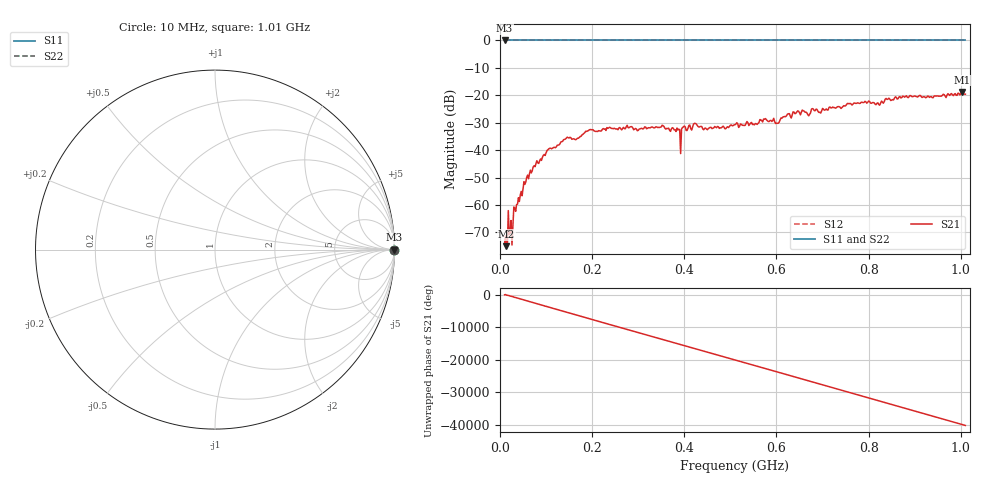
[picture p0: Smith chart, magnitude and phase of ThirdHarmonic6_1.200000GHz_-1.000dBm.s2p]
! 8/16/2025 12:25:15 PM
! C:\ANRITSUVNA\TEMP\TEMP.S2P
! CHANNEL.1
! TR.MEASUREMENT
! RAW.DATA
! RF.CORRECTION.OFF
! AVERAGING.OFF
! IF.BANDWIDTH: 5KHZ
! SWEEPTYPE:  FREQ.SWEEP(Linear)
! Reference Plane Port Info
! PORT:  PORT1  PORT2
! DISTANCE:  0  m  0  m
! TIME:  0  s  0  s
! PHASE.OFFSET:  0  deg.  0  deg.
! LOSS:  0  dB  0  dB
! REF.LOSS:  0  dB  0  dB
! REF.FREQ:  0  Hz  0  Hz
! Power Info
! POWER:  -20  dBm  -20  dBm
! EFF.POWER:  -20  dBm  -20  dBm
! SOURCE.ATTEN:  0  dB  0  dB
! TEST.ATTEN:  0  dB  0  dB
# GHZ S RI R 50.0
! FREQ.GHZ  S11RE  S11IM  S21RE  S21IM  S12RE  S12IM  S22RE  S22IM
!; PortSelection: Port_12
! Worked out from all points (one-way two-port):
!   501 points, 10 MHz to 1.01 GHz, reference 50 ohm
!   highest |S21| = -18.82 dB at 1.002 GHz (marker M1); lowest = -75.0 dB at 14 MHz (marker M2)
!   lowest |S11| = 0.0 dB at 10 MHz (marker M3)
!   |S11| at or under -10 dB: nowhere
!   |S22| runs from 0.0 to 0.0 dB; largest |S21 - S12| = 1.1
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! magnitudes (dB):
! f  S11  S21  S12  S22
! 10 MHz  0.0  -73.9  0.0  0.0
! 14 MHz  0.0  -75.0  0.0  0.0
! 20 MHz  0.0  -70.8  0.0  0.0
! 24 MHz  0.0  -65.7  0.0  0.0
! 34 MHz  0.0  -62.3  0.0  0.0
! 56 MHz  0.0  -51.6  0.0  0.0
! 76 MHz  0.0  -46.0  0.0  0.0
! 106 MHz  0.0  -39.5  0.0  0.0
! 178 MHz  0.0  -34.4  0.0  0.0
! 236 MHz  0.0  -31.8  0.0  0.0
! 344 MHz  0.0  -31.7  0.0  0.0
! 390 MHz  0.0  -32.6  0.0  0.0
! 398 MHz  0.0  -31.5  0.0  0.0
! 424 MHz  0.0  -30.2  0.0  0.0
! 446 MHz  0.0  -31.9  0.0  0.0
! 510 MHz  0.0  -30.7  0.0  0.0
! 602 MHz  0.0  -30.2  0.0  0.0
! 624 MHz  0.0  -26.8  0.0  0.0
! 678 MHz  0.0  -24.8  0.0  0.0
! 844 MHz  0.0  -21.0  0.0  0.0
! 1.002 GHz  0.0  -18.8  0.0  0.0
! 1.01 GHz  0.0  -19.6  0.0  0.0
